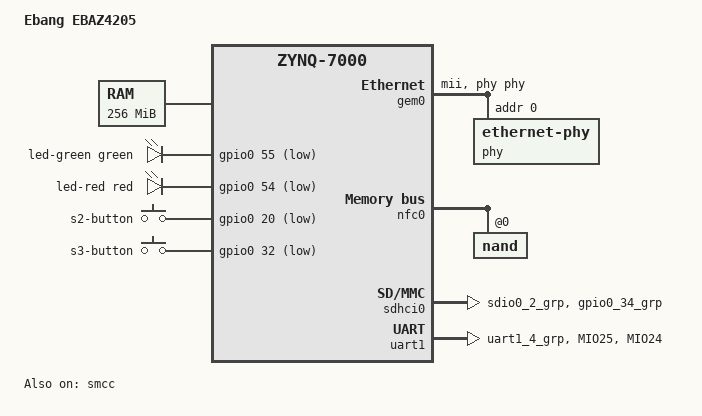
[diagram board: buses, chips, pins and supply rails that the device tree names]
// SPDX-License-Identifier: GPL-2.0
/*
 * Copyright (C) 2021 Michael Walle <michael@walle.cc>
 */
/dts-v1/;
#include <dt-bindings/gpio/gpio.h>
#include <dt-bindings/leds/common.h>
/include/ "zynq-7000.dtsi"

/ {
	model = "Ebang EBAZ4205";
	compatible = "ebang,ebaz4205", "xlnx,zynq-7000";

	aliases {
		ethernet0 = &gem0;
		serial0 = &uart1;
		mmc0 = &sdhci0;
		nand0 = &nand0;
	};

	memory@0 {
		device_type = "memory";
		reg = <0x0 0x10000000>;
	};

	chosen {
		stdout-path = "serial0:115200n8";
	};


	leds {
		compatible = "gpio-leds";

		led-1 {
			label = "led-green";
			function = LED_FUNCTION_STATUS;
			color = LED_COLOR_ID_GREEN;
			default-state = "off";
			linux,default-trigger = "heartbeat";
			gpios = <&gpio0 55 GPIO_ACTIVE_LOW>;
		};
		led-0 {
			label = "led-red";
			function = LED_FUNCTION_BOOT;
			color = LED_COLOR_ID_RED;
			default-state = "off";
			gpios = <&gpio0 54 GPIO_ACTIVE_LOW>;
		};
	};

	buttons {
		compatible = "gpio-keys-polled";
		poll-interval = <100>;

		s2-button {
			gpios = <&gpio0 20 GPIO_ACTIVE_LOW>;
			label = "s2-button";
			default-state = "keep";
			linux,code = <106>;
			autorepeat;
		};
		s3-button {
			gpios = <&gpio0 32 GPIO_ACTIVE_LOW>;
			label = "s3-button";
			default-state = "keep";
			linux,code = <105>;
			autorepeat;
		};
	};

};

&clkc {
	ps-clk-frequency = <33333333>;
	fclk-enable = <8>;
};

&gem0 {
	status = "okay";
	phy-mode = "mii";
	phy-handle = <&phy>;

	/* PHY clock */
	assigned-clocks = <&clkc 18>;
	assigned-clock-rates = <25000000>;

	phy: ethernet-phy@0 {
		reg = <0>;
	};
};

&gpio0 {
	pinctrl-names = "default";
	pinctrl-0 = <&pinctrl_gpio0_default>;
};

&nfc0 {
	status = "okay";

	nand@0 {
		reg = <0>;
	};
};

&pinctrl0 {
	pinctrl_gpio0_default: gpio0-default {
		mux {
			groups = "gpio0_20_grp", "gpio0_32_grp";
			function = "gpio0";
		};

		conf {
			groups = "gpio0_20_grp", "gpio0_32_grp";
			io-standard = <3>;
			slew-rate = <0>;
		};

		conf-pull-up {
			pins = "MIO20", "MIO32";
			bias-disable;
		};
	};

	pinctrl_sdhci0_default: sdhci0-default {
		mux {
			groups = "sdio0_2_grp";
			function = "sdio0";
		};

		conf {
			groups = "sdio0_2_grp";
			io-standard = <3>;
			slew-rate = <0>;
			bias-disable;
		};

		mux-cd {
			groups = "gpio0_34_grp";
			function = "sdio0_cd";
		};

		conf-cd {
			groups = "gpio0_34_grp";
			io-standard = <3>;
			slew-rate = <0>;
			bias-high-impedance;
			bias-pull-up;
		};
	};

	pinctrl_uart1_default: uart1-default {
		mux {
			groups = "uart1_4_grp";
			function = "uart1";
		};

		conf {
			groups = "uart1_4_grp";
			io-standard = <3>;
			slew-rate = <0>;
		};

		conf-rx {
			pins = "MIO25";
			bias-high-impedance;
		};

		conf-tx {
			pins = "MIO24";
			bias-disable;
		};
	};
};

&smcc {
	status = "okay";
};

&sdhci0 {
	status = "okay";
	disable-wp;
	pinctrl-names = "default";
	pinctrl-0 = <&pinctrl_sdhci0_default>;
};

&uart1 {
	status = "okay";
	pinctrl-names = "default";
	pinctrl-0 = <&pinctrl_uart1_default>;
};
